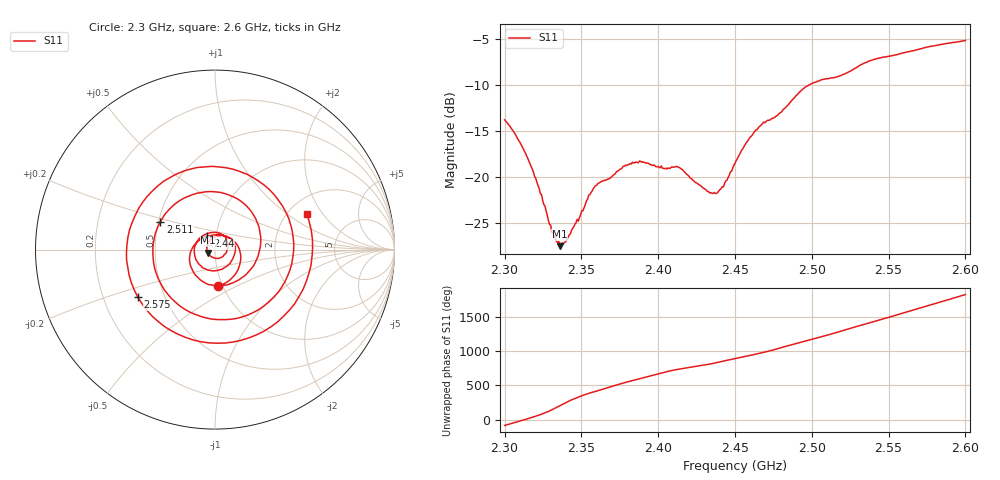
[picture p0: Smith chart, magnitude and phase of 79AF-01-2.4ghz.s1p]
! NanoVNA-App
! Date: 2026-05-25 16:04:58
! Start: 2.3GHz Stop: 2.6GHz Points: 401
! S-Parameter data: F S11
# Hz S RI R 50
!  Frequency  S11_Real  S11_Imag
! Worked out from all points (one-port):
!   401 points, 2.3 GHz to 2.6 GHz, reference 50 ohm
!   lowest |S11| = -27.5 dB at 2.336 GHz (marker M1), VSWR 1.09, Z = 46.2 - j1.55 ohm
!   |S11| at or under -10 dB: start of sweep to 2.498 GHz
!   S11 on the Smith chart (normalised r, x): 2.3 GHz: 0.95, -0.40; 2.44 GHz: 0.91, +0.14; 2.511 GHz: 0.51, +0.18; 2.575 GHz: 0.35, -0.25; 2.6 GHz: 2.50, +1.44
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2.3e9  0.0142 -0.2039
2.30975e9  0.1426 -0.0616
2.3195e9  0.0737 0.0693
2.336e9  -0.0387 -0.0167
2.3375e9  -0.0334 -0.0284
2.3555e9  0.0714 0.0368
2.375e9  -0.1015 0.0429
2.393e9  -0.0128 -0.1186
2.4125e9  0.1119 0.0205
2.44025e9  -0.043 0.074
2.45e9  -0.1163 0.0238
2.46125e9  -0.1269 -0.1114
2.4725e9  0.0338 -0.2007
2.4875e9  0.2551 0.0666
2.50025e9  0.0014 0.3218
2.51075e9  -0.3046 0.154
2.5175e9  -0.3347 -0.1087
2.525e9  -0.1405 -0.3482
2.53325e9  0.2171 -0.3485
2.54375e9  0.4356 0.0655
2.5535e9  0.1345 0.4367
2.5625e9  -0.3209 0.3529
2.5685e9  -0.4851 0.0698
2.5745e9  -0.4292 -0.2656
2.5805e9  -0.1639 -0.4893
2.58575e9  0.1425 -0.5059
2.59325e9  0.4912 -0.2204
2.6e9  0.512 0.201
